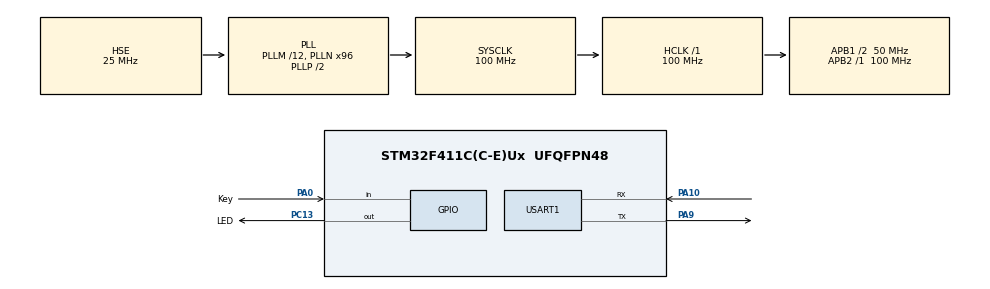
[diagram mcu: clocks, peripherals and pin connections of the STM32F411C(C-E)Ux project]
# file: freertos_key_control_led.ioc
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FREERTOS.Tasks01=defaultTask,24,128,StartDefaultTask,Default,NULL,Dynamic,NULL,NULL
Mcu.Family=STM32F4
Mcu.Name=STM32F411C(C-E)Ux
Mcu.Package=UFQFPN48
NVIC.PriorityGroup=NVIC_PRIORITYGROUP_4
NVIC.TIM1_UP_TIM10_IRQn=true\:15\:0\:false\:false\:true\:false\:false\:true\:true
NVIC.TimeBase=TIM1_UP_TIM10_IRQn
NVIC.TimeBaseIP=TIM1
PA0-WKUP.GPIO_Label=Key
PA0-WKUP.GPIO_PuPd=GPIO_PULLUP
PA0-WKUP.Signal=GPIO_Input
PA10.Mode=Asynchronous
PA10.Signal=USART1_RX
PA13.Mode=Serial_Wire
PA13.Signal=SYS_JTMS-SWDIO
PA14.Mode=Serial_Wire
PA14.Signal=SYS_JTCK-SWCLK
PA9.Mode=Asynchronous
PA9.Signal=USART1_TX
PC13-ANTI_TAMP.GPIO_Label=LED
PC13-ANTI_TAMP.PinState=GPIO_PIN_SET
PC13-ANTI_TAMP.Signal=GPIO_Output
PC14-OSC32_IN.Mode=LSE-External-Oscillator
PC14-OSC32_IN.Signal=RCC_OSC32_IN
PC15-OSC32_OUT.Mode=LSE-External-Oscillator
PC15-OSC32_OUT.Signal=RCC_OSC32_OUT
PH0\ -\ OSC_IN.Mode=HSE-External-Oscillator
PH0\ -\ OSC_IN.Signal=RCC_OSC_IN
PH1\ -\ OSC_OUT.Mode=HSE-External-Oscillator
PH1\ -\ OSC_OUT.Signal=RCC_OSC_OUT
ProjectManager.HeapSize=0x200
ProjectManager.StackSize=0x400
ProjectManager.TargetToolchain=MDK-ARM V5.32
RCC.48MHZClocksFreq_Value=50000000
RCC.AHBFreq_Value=100000000
RCC.APB1CLKDivider=RCC_HCLK_DIV2
RCC.APB1Freq_Value=50000000
RCC.APB1TimFreq_Value=100000000
RCC.APB2Freq_Value=100000000
RCC.APB2TimFreq_Value=100000000
RCC.CortexFreq_Value=100000000
RCC.HCLKFreq_Value=100000000
RCC.HSE_VALUE=25000000
RCC.HSI_VALUE=16000000
RCC.PLLM=12
RCC.PLLN=96
RCC.PLLSourceVirtual=RCC_PLLSOURCE_HSE
RCC.SYSCLKFreq_VALUE=100000000
RCC.SYSCLKSource=RCC_SYSCLKSOURCE_PLLCLK
RCC.VCOOutputFreq_Value=200000000
USART1.VirtualMode=VM_ASYNC
VP_FREERTOS_VS_CMSIS_V2.Mode=CMSIS_V2
VP_SYS_VS_tim1.Mode=TIM1
board=custom

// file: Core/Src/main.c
/* USER CODE BEGIN Header */
/**
  ******************************************************************************
  * @file           : main.c
  * @brief          : Main program body
  ******************************************************************************
  * @attention
  *
  * Copyright (c) 2025 STMicroelectronics.
  * All rights reserved.
  *
  * This software is licensed under terms that can be found in the LICENSE file
  * in the root directory of this software component.
  * If no LICENSE file comes with this software, it is provided AS-IS.
  *
  ******************************************************************************
  */
/* USER CODE END Header */
#include "main.h"
#include "cmsis_os.h"
#include "usart.h"
#include "gpio.h"

/* USER CODE BEGIN Includes */
#include <stdio.h>
/* USER CODE END Includes */

void SystemClock_Config(void);
void MX_FREERTOS_Init(void);

int main(void)
{

  /* MCU Configuration--------------------------------------------------------*/

  /* Reset of all peripherals, Initializes the Flash interface and the Systick. */
  HAL_Init();

  /* Configure the system clock */
  SystemClock_Config();

  /* Initialize all configured peripherals */
  MX_GPIO_Init();
  MX_USART1_UART_Init();

  /* Init scheduler */
  osKernelInitialize();  /* Call init function for freertos objects (in freertos.c) */
  MX_FREERTOS_Init();

  /* Start scheduler */
  osKernelStart();
  /* We should never get here as control is now taken by the scheduler */
  /* Infinite loop */
  while (1)
  {

  }
}

void SystemClock_Config(void)
{
  RCC_OscInitTypeDef RCC_OscInitStruct = {0};
  RCC_ClkInitTypeDef RCC_ClkInitStruct = {0};

  /** Configure the main internal regulator output voltage
  */
  __HAL_RCC_PWR_CLK_ENABLE();
  __HAL_PWR_VOLTAGESCALING_CONFIG(PWR_REGULATOR_VOLTAGE_SCALE1);

  /** Initializes the RCC Oscillators according to the specified parameters
  * in the RCC_OscInitTypeDef structure.
  */
  RCC_OscInitStruct.OscillatorType = RCC_OSCILLATORTYPE_HSE;
  RCC_OscInitStruct.HSEState = RCC_HSE_ON;
  RCC_OscInitStruct.PLL.PLLState = RCC_PLL_ON;
  RCC_OscInitStruct.PLL.PLLSource = RCC_PLLSOURCE_HSE;
  RCC_OscInitStruct.PLL.PLLM = 12;
  RCC_OscInitStruct.PLL.PLLN = 96;
  RCC_OscInitStruct.PLL.PLLP = RCC_PLLP_DIV2;
  RCC_OscInitStruct.PLL.PLLQ = 4;
  if (HAL_RCC_OscConfig(&RCC_OscInitStruct) != HAL_OK)
  {
    Error_Handler();
  }

  /** Initializes the CPU, AHB and APB buses clocks
  */
  RCC_ClkInitStruct.ClockType = RCC_CLOCKTYPE_HCLK|RCC_CLOCKTYPE_SYSCLK
                              |RCC_CLOCKTYPE_PCLK1|RCC_CLOCKTYPE_PCLK2;
  RCC_ClkInitStruct.SYSCLKSource = RCC_SYSCLKSOURCE_PLLCLK;
  RCC_ClkInitStruct.AHBCLKDivider = RCC_SYSCLK_DIV1;
  RCC_ClkInitStruct.APB1CLKDivider = RCC_HCLK_DIV2;
  RCC_ClkInitStruct.APB2CLKDivider = RCC_HCLK_DIV1;

  if (HAL_RCC_ClockConfig(&RCC_ClkInitStruct, FLASH_LATENCY_3) != HAL_OK)
  {
    Error_Handler();
  }
}

void HAL_TIM_PeriodElapsedCallback(TIM_HandleTypeDef *htim)
{
  if (htim->Instance == TIM1) {
    HAL_IncTick();
  }
}

void Error_Handler(void)
{
  __disable_irq();
  while (1)
  {
  }
}

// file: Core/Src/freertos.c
/* USER CODE BEGIN Header */
/**
  ******************************************************************************
  * File Name          : freertos.c
  * Description        : Code for freertos applications
  ******************************************************************************
  * @attention
  *
  * Copyright (c) 2025 STMicroelectronics.
  * All rights reserved.
  *
  * This software is licensed under terms that can be found in the LICENSE file
  * in the root directory of this software component.
  * If no LICENSE file comes with this software, it is provided AS-IS.
  *
  ******************************************************************************
  */
/* USER CODE END Header */

#include "FreeRTOS.h"
#include "task.h"
#include "main.h"
#include "cmsis_os.h"

/* USER CODE BEGIN Includes */
#include <stdio.h>
#include "queue.h"
#include "bsp_key.h"
#include "bsp_led.h"
/* USER CODE END Includes */

/* Definitions for defaultTask */
osThreadId_t defaultTaskHandle;
const osThreadAttr_t defaultTask_attributes = {
  .name = "defaultTask",
  .stack_size = 128 * 4,
  .priority = (osPriority_t) osPriorityNormal,
};

void StartDefaultTask(void *argument);

void MX_FREERTOS_Init(void); /* (MISRA C 2004 rule 8.1) */

void MX_FREERTOS_Init(void) {

  /* Create the thread(s) */
  /* creation of defaultTask */
  defaultTaskHandle = osThreadNew(StartDefaultTask, NULL, &defaultTask_attributes);

  /* USER CODE BEGIN RTOS_THREADS */
  /* add threads, ... */
  key_TaskHandle = osThreadNew(key_task_func, NULL, &key_Task_attributes);
  led_TaskHandle = osThreadNew(led_task_func, NULL, &led_Task_attributes);
  /* USER CODE END RTOS_THREADS */

}

void StartDefaultTask(void *argument)
{
  /* USER CODE BEGIN StartDefaultTask */
	uint32_t        received_value =      0;
  led_operation_t led_ops_value  = LED_ON;
  /* Infinite loop */
  for(;;)
  {
      printf("Default task is running\r\n");
      if(0 != key_queue)
      {
		      //Receive a message on the created queue. block for 100 ticks if a message is not immediately available.
          if(xQueueReceive(key_queue, &received_value, (TickType_t)100) == pdTRUE)
          {
              printf("Received key_queue value: %d\r\n", received_value);
              led_ops_value = LED_TOGGLE;
              //send the operation to LED.
              if(xQueueSend(led_queue, &led_ops_value, (TickType_t)100) == pdTRUE)
              {
                  printf("send to led_queue successfully!.\r\n");
              }
          }
	    }
      osDelay(100);
  }
  /* USER CODE END StartDefaultTask */
}
